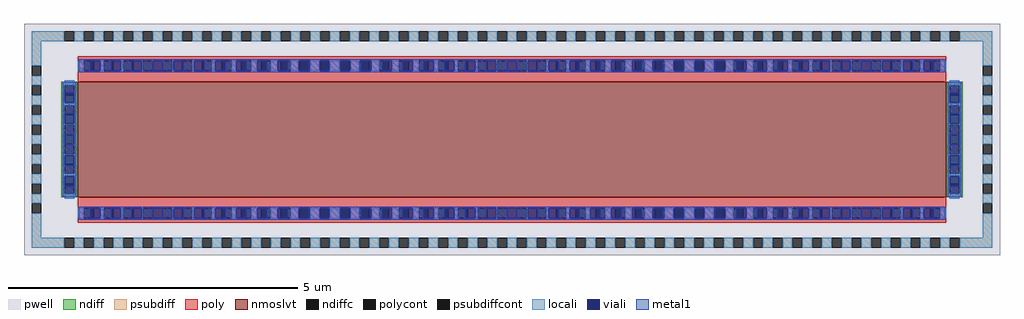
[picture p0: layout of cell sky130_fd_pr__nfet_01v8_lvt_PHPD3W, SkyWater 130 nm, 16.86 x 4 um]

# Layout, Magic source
magic
tech sky130A
magscale 1 2
<< pwell >>
rect -1686 -400 1686 400
<< nmoslvt >>
rect -1500 -200 1500 200
<< ndiff >>
rect -1558 187 -1500 200
rect -1558 153 -1546 187
rect -1512 153 -1500 187
rect -1558 119 -1500 153
rect -1558 85 -1546 119
rect -1512 85 -1500 119
rect -1558 51 -1500 85
rect -1558 17 -1546 51
rect -1512 17 -1500 51
rect -1558 -17 -1500 17
rect -1558 -51 -1546 -17
rect -1512 -51 -1500 -17
rect -1558 -85 -1500 -51
rect -1558 -119 -1546 -85
rect -1512 -119 -1500 -85
rect -1558 -153 -1500 -119
rect -1558 -187 -1546 -153
rect -1512 -187 -1500 -153
rect -1558 -200 -1500 -187
rect 1500 187 1558 200
rect 1500 153 1512 187
rect 1546 153 1558 187
rect 1500 119 1558 153
rect 1500 85 1512 119
rect 1546 85 1558 119
rect 1500 51 1558 85
rect 1500 17 1512 51
rect 1546 17 1558 51
rect 1500 -17 1558 17
rect 1500 -51 1512 -17
rect 1546 -51 1558 -17
rect 1500 -85 1558 -51
rect 1500 -119 1512 -85
rect 1546 -119 1558 -85
rect 1500 -153 1558 -119
rect 1500 -187 1512 -153
rect 1546 -187 1558 -153
rect 1500 -200 1558 -187
<< ndiffc >>
rect -1546 153 -1512 187
rect -1546 85 -1512 119
rect -1546 17 -1512 51
rect -1546 -51 -1512 -17
rect -1546 -119 -1512 -85
rect -1546 -187 -1512 -153
rect 1512 153 1546 187
rect 1512 85 1546 119
rect 1512 17 1546 51
rect 1512 -51 1546 -17
rect 1512 -119 1546 -85
rect 1512 -187 1546 -153
<< psubdiff >>
rect -1660 340 -1547 374
rect -1513 340 -1479 374
rect -1445 340 -1411 374
rect -1377 340 -1343 374
rect -1309 340 -1275 374
rect -1241 340 -1207 374
rect -1173 340 -1139 374
rect -1105 340 -1071 374
rect -1037 340 -1003 374
rect -969 340 -935 374
rect -901 340 -867 374
rect -833 340 -799 374
rect -765 340 -731 374
rect -697 340 -663 374
rect -629 340 -595 374
rect -561 340 -527 374
rect -493 340 -459 374
rect -425 340 -391 374
rect -357 340 -323 374
rect -289 340 -255 374
rect -221 340 -187 374
rect -153 340 -119 374
rect -85 340 -51 374
rect -17 340 17 374
rect 51 340 85 374
rect 119 340 153 374
rect 187 340 221 374
rect 255 340 289 374
rect 323 340 357 374
rect 391 340 425 374
rect 459 340 493 374
rect 527 340 561 374
rect 595 340 629 374
rect 663 340 697 374
rect 731 340 765 374
rect 799 340 833 374
rect 867 340 901 374
rect 935 340 969 374
rect 1003 340 1037 374
rect 1071 340 1105 374
rect 1139 340 1173 374
rect 1207 340 1241 374
rect 1275 340 1309 374
rect 1343 340 1377 374
rect 1411 340 1445 374
rect 1479 340 1513 374
rect 1547 340 1660 374
rect -1660 255 -1626 340
rect -1660 187 -1626 221
rect 1626 255 1660 340
rect -1660 119 -1626 153
rect -1660 51 -1626 85
rect -1660 -17 -1626 17
rect -1660 -85 -1626 -51
rect -1660 -153 -1626 -119
rect -1660 -221 -1626 -187
rect 1626 187 1660 221
rect 1626 119 1660 153
rect 1626 51 1660 85
rect 1626 -17 1660 17
rect 1626 -85 1660 -51
rect 1626 -153 1660 -119
rect -1660 -340 -1626 -255
rect 1626 -221 1660 -187
rect 1626 -340 1660 -255
rect -1660 -374 -1547 -340
rect -1513 -374 -1479 -340
rect -1445 -374 -1411 -340
rect -1377 -374 -1343 -340
rect -1309 -374 -1275 -340
rect -1241 -374 -1207 -340
rect -1173 -374 -1139 -340
rect -1105 -374 -1071 -340
rect -1037 -374 -1003 -340
rect -969 -374 -935 -340
rect -901 -374 -867 -340
rect -833 -374 -799 -340
rect -765 -374 -731 -340
rect -697 -374 -663 -340
rect -629 -374 -595 -340
rect -561 -374 -527 -340
rect -493 -374 -459 -340
rect -425 -374 -391 -340
rect -357 -374 -323 -340
rect -289 -374 -255 -340
rect -221 -374 -187 -340
rect -153 -374 -119 -340
rect -85 -374 -51 -340
rect -17 -374 17 -340
rect 51 -374 85 -340
rect 119 -374 153 -340
rect 187 -374 221 -340
rect 255 -374 289 -340
rect 323 -374 357 -340
rect 391 -374 425 -340
rect 459 -374 493 -340
rect 527 -374 561 -340
rect 595 -374 629 -340
rect 663 -374 697 -340
rect 731 -374 765 -340
rect 799 -374 833 -340
rect 867 -374 901 -340
rect 935 -374 969 -340
rect 1003 -374 1037 -340
rect 1071 -374 1105 -340
rect 1139 -374 1173 -340
rect 1207 -374 1241 -340
rect 1275 -374 1309 -340
rect 1343 -374 1377 -340
rect 1411 -374 1445 -340
rect 1479 -374 1513 -340
rect 1547 -374 1660 -340
<< psubdiffcont >>
rect -1547 340 -1513 374
rect -1479 340 -1445 374
rect -1411 340 -1377 374
rect -1343 340 -1309 374
rect -1275 340 -1241 374
rect -1207 340 -1173 374
rect -1139 340 -1105 374
rect -1071 340 -1037 374
rect -1003 340 -969 374
rect -935 340 -901 374
rect -867 340 -833 374
rect -799 340 -765 374
rect -731 340 -697 374
rect -663 340 -629 374
rect -595 340 -561 374
rect -527 340 -493 374
rect -459 340 -425 374
rect -391 340 -357 374
rect -323 340 -289 374
rect -255 340 -221 374
rect -187 340 -153 374
rect -119 340 -85 374
rect -51 340 -17 374
rect 17 340 51 374
rect 85 340 119 374
rect 153 340 187 374
rect 221 340 255 374
rect 289 340 323 374
rect 357 340 391 374
rect 425 340 459 374
rect 493 340 527 374
rect 561 340 595 374
rect 629 340 663 374
rect 697 340 731 374
rect 765 340 799 374
rect 833 340 867 374
rect 901 340 935 374
rect 969 340 1003 374
rect 1037 340 1071 374
rect 1105 340 1139 374
rect 1173 340 1207 374
rect 1241 340 1275 374
rect 1309 340 1343 374
rect 1377 340 1411 374
rect 1445 340 1479 374
rect 1513 340 1547 374
rect -1660 221 -1626 255
rect 1626 221 1660 255
rect -1660 153 -1626 187
rect -1660 85 -1626 119
rect -1660 17 -1626 51
rect -1660 -51 -1626 -17
rect -1660 -119 -1626 -85
rect -1660 -187 -1626 -153
rect 1626 153 1660 187
rect 1626 85 1660 119
rect 1626 17 1660 51
rect 1626 -51 1660 -17
rect 1626 -119 1660 -85
rect 1626 -187 1660 -153
rect -1660 -255 -1626 -221
rect 1626 -255 1660 -221
rect -1547 -374 -1513 -340
rect -1479 -374 -1445 -340
rect -1411 -374 -1377 -340
rect -1343 -374 -1309 -340
rect -1275 -374 -1241 -340
rect -1207 -374 -1173 -340
rect -1139 -374 -1105 -340
rect -1071 -374 -1037 -340
rect -1003 -374 -969 -340
rect -935 -374 -901 -340
rect -867 -374 -833 -340
rect -799 -374 -765 -340
rect -731 -374 -697 -340
rect -663 -374 -629 -340
rect -595 -374 -561 -340
rect -527 -374 -493 -340
rect -459 -374 -425 -340
rect -391 -374 -357 -340
rect -323 -374 -289 -340
rect -255 -374 -221 -340
rect -187 -374 -153 -340
rect -119 -374 -85 -340
rect -51 -374 -17 -340
rect 17 -374 51 -340
rect 85 -374 119 -340
rect 153 -374 187 -340
rect 221 -374 255 -340
rect 289 -374 323 -340
rect 357 -374 391 -340
rect 425 -374 459 -340
rect 493 -374 527 -340
rect 561 -374 595 -340
rect 629 -374 663 -340
rect 697 -374 731 -340
rect 765 -374 799 -340
rect 833 -374 867 -340
rect 901 -374 935 -340
rect 969 -374 1003 -340
rect 1037 -374 1071 -340
rect 1105 -374 1139 -340
rect 1173 -374 1207 -340
rect 1241 -374 1275 -340
rect 1309 -374 1343 -340
rect 1377 -374 1411 -340
rect 1445 -374 1479 -340
rect 1513 -374 1547 -340
<< poly >>
rect -1500 272 1500 288
rect -1500 238 -1479 272
rect -1445 238 -1411 272
rect -1377 238 -1343 272
rect -1309 238 -1275 272
rect -1241 238 -1207 272
rect -1173 238 -1139 272
rect -1105 238 -1071 272
rect -1037 238 -1003 272
rect -969 238 -935 272
rect -901 238 -867 272
rect -833 238 -799 272
rect -765 238 -731 272
rect -697 238 -663 272
rect -629 238 -595 272
rect -561 238 -527 272
rect -493 238 -459 272
rect -425 238 -391 272
rect -357 238 -323 272
rect -289 238 -255 272
rect -221 238 -187 272
rect -153 238 -119 272
rect -85 238 -51 272
rect -17 238 17 272
rect 51 238 85 272
rect 119 238 153 272
rect 187 238 221 272
rect 255 238 289 272
rect 323 238 357 272
rect 391 238 425 272
rect 459 238 493 272
rect 527 238 561 272
rect 595 238 629 272
rect 663 238 697 272
rect 731 238 765 272
rect 799 238 833 272
rect 867 238 901 272
rect 935 238 969 272
rect 1003 238 1037 272
rect 1071 238 1105 272
rect 1139 238 1173 272
rect 1207 238 1241 272
rect 1275 238 1309 272
rect 1343 238 1377 272
rect 1411 238 1445 272
rect 1479 238 1500 272
rect -1500 200 1500 238
rect -1500 -238 1500 -200
rect -1500 -272 -1479 -238
rect -1445 -272 -1411 -238
rect -1377 -272 -1343 -238
rect -1309 -272 -1275 -238
rect -1241 -272 -1207 -238
rect -1173 -272 -1139 -238
rect -1105 -272 -1071 -238
rect -1037 -272 -1003 -238
rect -969 -272 -935 -238
rect -901 -272 -867 -238
rect -833 -272 -799 -238
rect -765 -272 -731 -238
rect -697 -272 -663 -238
rect -629 -272 -595 -238
rect -561 -272 -527 -238
rect -493 -272 -459 -238
rect -425 -272 -391 -238
rect -357 -272 -323 -238
rect -289 -272 -255 -238
rect -221 -272 -187 -238
rect -153 -272 -119 -238
rect -85 -272 -51 -238
rect -17 -272 17 -238
rect 51 -272 85 -238
rect 119 -272 153 -238
rect 187 -272 221 -238
rect 255 -272 289 -238
rect 323 -272 357 -238
rect 391 -272 425 -238
rect 459 -272 493 -238
rect 527 -272 561 -238
rect 595 -272 629 -238
rect 663 -272 697 -238
rect 731 -272 765 -238
rect 799 -272 833 -238
rect 867 -272 901 -238
rect 935 -272 969 -238
rect 1003 -272 1037 -238
rect 1071 -272 1105 -238
rect 1139 -272 1173 -238
rect 1207 -272 1241 -238
rect 1275 -272 1309 -238
rect 1343 -272 1377 -238
rect 1411 -272 1445 -238
rect 1479 -272 1500 -238
rect -1500 -288 1500 -272
<< polycont >>
rect -1479 238 -1445 272
rect -1411 238 -1377 272
rect -1343 238 -1309 272
rect -1275 238 -1241 272
rect -1207 238 -1173 272
rect -1139 238 -1105 272
rect -1071 238 -1037 272
rect -1003 238 -969 272
rect -935 238 -901 272
rect -867 238 -833 272
rect -799 238 -765 272
rect -731 238 -697 272
rect -663 238 -629 272
rect -595 238 -561 272
rect -527 238 -493 272
rect -459 238 -425 272
rect -391 238 -357 272
rect -323 238 -289 272
rect -255 238 -221 272
rect -187 238 -153 272
rect -119 238 -85 272
rect -51 238 -17 272
rect 17 238 51 272
rect 85 238 119 272
rect 153 238 187 272
rect 221 238 255 272
rect 289 238 323 272
rect 357 238 391 272
rect 425 238 459 272
rect 493 238 527 272
rect 561 238 595 272
rect 629 238 663 272
rect 697 238 731 272
rect 765 238 799 272
rect 833 238 867 272
rect 901 238 935 272
rect 969 238 1003 272
rect 1037 238 1071 272
rect 1105 238 1139 272
rect 1173 238 1207 272
rect 1241 238 1275 272
rect 1309 238 1343 272
rect 1377 238 1411 272
rect 1445 238 1479 272
rect -1479 -272 -1445 -238
rect -1411 -272 -1377 -238
rect -1343 -272 -1309 -238
rect -1275 -272 -1241 -238
rect -1207 -272 -1173 -238
rect -1139 -272 -1105 -238
rect -1071 -272 -1037 -238
rect -1003 -272 -969 -238
rect -935 -272 -901 -238
rect -867 -272 -833 -238
rect -799 -272 -765 -238
rect -731 -272 -697 -238
rect -663 -272 -629 -238
rect -595 -272 -561 -238
rect -527 -272 -493 -238
rect -459 -272 -425 -238
rect -391 -272 -357 -238
rect -323 -272 -289 -238
rect -255 -272 -221 -238
rect -187 -272 -153 -238
rect -119 -272 -85 -238
rect -51 -272 -17 -238
rect 17 -272 51 -238
rect 85 -272 119 -238
rect 153 -272 187 -238
rect 221 -272 255 -238
rect 289 -272 323 -238
rect 357 -272 391 -238
rect 425 -272 459 -238
rect 493 -272 527 -238
rect 561 -272 595 -238
rect 629 -272 663 -238
rect 697 -272 731 -238
rect 765 -272 799 -238
rect 833 -272 867 -238
rect 901 -272 935 -238
rect 969 -272 1003 -238
rect 1037 -272 1071 -238
rect 1105 -272 1139 -238
rect 1173 -272 1207 -238
rect 1241 -272 1275 -238
rect 1309 -272 1343 -238
rect 1377 -272 1411 -238
rect 1445 -272 1479 -238
<< locali >>
rect -1660 340 -1547 374
rect -1513 340 -1479 374
rect -1445 340 -1411 374
rect -1377 340 -1343 374
rect -1309 340 -1275 374
rect -1241 340 -1207 374
rect -1173 340 -1139 374
rect -1105 340 -1071 374
rect -1037 340 -1003 374
rect -969 340 -935 374
rect -901 340 -867 374
rect -833 340 -799 374
rect -765 340 -731 374
rect -697 340 -663 374
rect -629 340 -595 374
rect -561 340 -527 374
rect -493 340 -459 374
rect -425 340 -391 374
rect -357 340 -323 374
rect -289 340 -255 374
rect -221 340 -187 374
rect -153 340 -119 374
rect -85 340 -51 374
rect -17 340 17 374
rect 51 340 85 374
rect 119 340 153 374
rect 187 340 221 374
rect 255 340 289 374
rect 323 340 357 374
rect 391 340 425 374
rect 459 340 493 374
rect 527 340 561 374
rect 595 340 629 374
rect 663 340 697 374
rect 731 340 765 374
rect 799 340 833 374
rect 867 340 901 374
rect 935 340 969 374
rect 1003 340 1037 374
rect 1071 340 1105 374
rect 1139 340 1173 374
rect 1207 340 1241 374
rect 1275 340 1309 374
rect 1343 340 1377 374
rect 1411 340 1445 374
rect 1479 340 1513 374
rect 1547 340 1660 374
rect -1660 255 -1626 340
rect -1500 238 -1479 272
rect -1423 238 -1411 272
rect -1351 238 -1343 272
rect -1279 238 -1275 272
rect -1173 238 -1169 272
rect -1105 238 -1097 272
rect -1037 238 -1025 272
rect -969 238 -953 272
rect -901 238 -881 272
rect -833 238 -809 272
rect -765 238 -737 272
rect -697 238 -665 272
rect -629 238 -595 272
rect -559 238 -527 272
rect -487 238 -459 272
rect -415 238 -391 272
rect -343 238 -323 272
rect -271 238 -255 272
rect -199 238 -187 272
rect -127 238 -119 272
rect -55 238 -51 272
rect 51 238 55 272
rect 119 238 127 272
rect 187 238 199 272
rect 255 238 271 272
rect 323 238 343 272
rect 391 238 415 272
rect 459 238 487 272
rect 527 238 559 272
rect 595 238 629 272
rect 665 238 697 272
rect 737 238 765 272
rect 809 238 833 272
rect 881 238 901 272
rect 953 238 969 272
rect 1025 238 1037 272
rect 1097 238 1105 272
rect 1169 238 1173 272
rect 1275 238 1279 272
rect 1343 238 1351 272
rect 1411 238 1423 272
rect 1479 238 1500 272
rect 1626 255 1660 340
rect -1660 187 -1626 221
rect -1660 119 -1626 153
rect -1660 51 -1626 85
rect -1660 -17 -1626 17
rect -1660 -85 -1626 -51
rect -1660 -153 -1626 -119
rect -1660 -221 -1626 -187
rect -1546 187 -1512 204
rect -1546 119 -1512 127
rect -1546 51 -1512 55
rect -1546 -55 -1512 -51
rect -1546 -127 -1512 -119
rect -1546 -204 -1512 -187
rect 1512 187 1546 204
rect 1512 119 1546 127
rect 1512 51 1546 55
rect 1512 -55 1546 -51
rect 1512 -127 1546 -119
rect 1512 -204 1546 -187
rect 1626 187 1660 221
rect 1626 119 1660 153
rect 1626 51 1660 85
rect 1626 -17 1660 17
rect 1626 -85 1660 -51
rect 1626 -153 1660 -119
rect 1626 -221 1660 -187
rect -1660 -340 -1626 -255
rect -1500 -272 -1479 -238
rect -1423 -272 -1411 -238
rect -1351 -272 -1343 -238
rect -1279 -272 -1275 -238
rect -1173 -272 -1169 -238
rect -1105 -272 -1097 -238
rect -1037 -272 -1025 -238
rect -969 -272 -953 -238
rect -901 -272 -881 -238
rect -833 -272 -809 -238
rect -765 -272 -737 -238
rect -697 -272 -665 -238
rect -629 -272 -595 -238
rect -559 -272 -527 -238
rect -487 -272 -459 -238
rect -415 -272 -391 -238
rect -343 -272 -323 -238
rect -271 -272 -255 -238
rect -199 -272 -187 -238
rect -127 -272 -119 -238
rect -55 -272 -51 -238
rect 51 -272 55 -238
rect 119 -272 127 -238
rect 187 -272 199 -238
rect 255 -272 271 -238
rect 323 -272 343 -238
rect 391 -272 415 -238
rect 459 -272 487 -238
rect 527 -272 559 -238
rect 595 -272 629 -238
rect 665 -272 697 -238
rect 737 -272 765 -238
rect 809 -272 833 -238
rect 881 -272 901 -238
rect 953 -272 969 -238
rect 1025 -272 1037 -238
rect 1097 -272 1105 -238
rect 1169 -272 1173 -238
rect 1275 -272 1279 -238
rect 1343 -272 1351 -238
rect 1411 -272 1423 -238
rect 1479 -272 1500 -238
rect 1626 -340 1660 -255
rect -1660 -374 -1547 -340
rect -1513 -374 -1479 -340
rect -1445 -374 -1411 -340
rect -1377 -374 -1343 -340
rect -1309 -374 -1275 -340
rect -1241 -374 -1207 -340
rect -1173 -374 -1139 -340
rect -1105 -374 -1071 -340
rect -1037 -374 -1003 -340
rect -969 -374 -935 -340
rect -901 -374 -867 -340
rect -833 -374 -799 -340
rect -765 -374 -731 -340
rect -697 -374 -663 -340
rect -629 -374 -595 -340
rect -561 -374 -527 -340
rect -493 -374 -459 -340
rect -425 -374 -391 -340
rect -357 -374 -323 -340
rect -289 -374 -255 -340
rect -221 -374 -187 -340
rect -153 -374 -119 -340
rect -85 -374 -51 -340
rect -17 -374 17 -340
rect 51 -374 85 -340
rect 119 -374 153 -340
rect 187 -374 221 -340
rect 255 -374 289 -340
rect 323 -374 357 -340
rect 391 -374 425 -340
rect 459 -374 493 -340
rect 527 -374 561 -340
rect 595 -374 629 -340
rect 663 -374 697 -340
rect 731 -374 765 -340
rect 799 -374 833 -340
rect 867 -374 901 -340
rect 935 -374 969 -340
rect 1003 -374 1037 -340
rect 1071 -374 1105 -340
rect 1139 -374 1173 -340
rect 1207 -374 1241 -340
rect 1275 -374 1309 -340
rect 1343 -374 1377 -340
rect 1411 -374 1445 -340
rect 1479 -374 1513 -340
rect 1547 -374 1660 -340
<< viali >>
rect -1457 238 -1445 272
rect -1445 238 -1423 272
rect -1385 238 -1377 272
rect -1377 238 -1351 272
rect -1313 238 -1309 272
rect -1309 238 -1279 272
rect -1241 238 -1207 272
rect -1169 238 -1139 272
rect -1139 238 -1135 272
rect -1097 238 -1071 272
rect -1071 238 -1063 272
rect -1025 238 -1003 272
rect -1003 238 -991 272
rect -953 238 -935 272
rect -935 238 -919 272
rect -881 238 -867 272
rect -867 238 -847 272
rect -809 238 -799 272
rect -799 238 -775 272
rect -737 238 -731 272
rect -731 238 -703 272
rect -665 238 -663 272
rect -663 238 -631 272
rect -593 238 -561 272
rect -561 238 -559 272
rect -521 238 -493 272
rect -493 238 -487 272
rect -449 238 -425 272
rect -425 238 -415 272
rect -377 238 -357 272
rect -357 238 -343 272
rect -305 238 -289 272
rect -289 238 -271 272
rect -233 238 -221 272
rect -221 238 -199 272
rect -161 238 -153 272
rect -153 238 -127 272
rect -89 238 -85 272
rect -85 238 -55 272
rect -17 238 17 272
rect 55 238 85 272
rect 85 238 89 272
rect 127 238 153 272
rect 153 238 161 272
rect 199 238 221 272
rect 221 238 233 272
rect 271 238 289 272
rect 289 238 305 272
rect 343 238 357 272
rect 357 238 377 272
rect 415 238 425 272
rect 425 238 449 272
rect 487 238 493 272
rect 493 238 521 272
rect 559 238 561 272
rect 561 238 593 272
rect 631 238 663 272
rect 663 238 665 272
rect 703 238 731 272
rect 731 238 737 272
rect 775 238 799 272
rect 799 238 809 272
rect 847 238 867 272
rect 867 238 881 272
rect 919 238 935 272
rect 935 238 953 272
rect 991 238 1003 272
rect 1003 238 1025 272
rect 1063 238 1071 272
rect 1071 238 1097 272
rect 1135 238 1139 272
rect 1139 238 1169 272
rect 1207 238 1241 272
rect 1279 238 1309 272
rect 1309 238 1313 272
rect 1351 238 1377 272
rect 1377 238 1385 272
rect 1423 238 1445 272
rect 1445 238 1457 272
rect -1546 153 -1512 161
rect -1546 127 -1512 153
rect -1546 85 -1512 89
rect -1546 55 -1512 85
rect -1546 -17 -1512 17
rect -1546 -85 -1512 -55
rect -1546 -89 -1512 -85
rect -1546 -153 -1512 -127
rect -1546 -161 -1512 -153
rect 1512 153 1546 161
rect 1512 127 1546 153
rect 1512 85 1546 89
rect 1512 55 1546 85
rect 1512 -17 1546 17
rect 1512 -85 1546 -55
rect 1512 -89 1546 -85
rect 1512 -153 1546 -127
rect 1512 -161 1546 -153
rect -1457 -272 -1445 -238
rect -1445 -272 -1423 -238
rect -1385 -272 -1377 -238
rect -1377 -272 -1351 -238
rect -1313 -272 -1309 -238
rect -1309 -272 -1279 -238
rect -1241 -272 -1207 -238
rect -1169 -272 -1139 -238
rect -1139 -272 -1135 -238
rect -1097 -272 -1071 -238
rect -1071 -272 -1063 -238
rect -1025 -272 -1003 -238
rect -1003 -272 -991 -238
rect -953 -272 -935 -238
rect -935 -272 -919 -238
rect -881 -272 -867 -238
rect -867 -272 -847 -238
rect -809 -272 -799 -238
rect -799 -272 -775 -238
rect -737 -272 -731 -238
rect -731 -272 -703 -238
rect -665 -272 -663 -238
rect -663 -272 -631 -238
rect -593 -272 -561 -238
rect -561 -272 -559 -238
rect -521 -272 -493 -238
rect -493 -272 -487 -238
rect -449 -272 -425 -238
rect -425 -272 -415 -238
rect -377 -272 -357 -238
rect -357 -272 -343 -238
rect -305 -272 -289 -238
rect -289 -272 -271 -238
rect -233 -272 -221 -238
rect -221 -272 -199 -238
rect -161 -272 -153 -238
rect -153 -272 -127 -238
rect -89 -272 -85 -238
rect -85 -272 -55 -238
rect -17 -272 17 -238
rect 55 -272 85 -238
rect 85 -272 89 -238
rect 127 -272 153 -238
rect 153 -272 161 -238
rect 199 -272 221 -238
rect 221 -272 233 -238
rect 271 -272 289 -238
rect 289 -272 305 -238
rect 343 -272 357 -238
rect 357 -272 377 -238
rect 415 -272 425 -238
rect 425 -272 449 -238
rect 487 -272 493 -238
rect 493 -272 521 -238
rect 559 -272 561 -238
rect 561 -272 593 -238
rect 631 -272 663 -238
rect 663 -272 665 -238
rect 703 -272 731 -238
rect 731 -272 737 -238
rect 775 -272 799 -238
rect 799 -272 809 -238
rect 847 -272 867 -238
rect 867 -272 881 -238
rect 919 -272 935 -238
rect 935 -272 953 -238
rect 991 -272 1003 -238
rect 1003 -272 1025 -238
rect 1063 -272 1071 -238
rect 1071 -272 1097 -238
rect 1135 -272 1139 -238
rect 1139 -272 1169 -238
rect 1207 -272 1241 -238
rect 1279 -272 1309 -238
rect 1309 -272 1313 -238
rect 1351 -272 1377 -238
rect 1377 -272 1385 -238
rect 1423 -272 1445 -238
rect 1445 -272 1457 -238
<< metal1 >>
rect -1496 272 1496 278
rect -1496 238 -1457 272
rect -1423 238 -1385 272
rect -1351 238 -1313 272
rect -1279 238 -1241 272
rect -1207 238 -1169 272
rect -1135 238 -1097 272
rect -1063 238 -1025 272
rect -991 238 -953 272
rect -919 238 -881 272
rect -847 238 -809 272
rect -775 238 -737 272
rect -703 238 -665 272
rect -631 238 -593 272
rect -559 238 -521 272
rect -487 238 -449 272
rect -415 238 -377 272
rect -343 238 -305 272
rect -271 238 -233 272
rect -199 238 -161 272
rect -127 238 -89 272
rect -55 238 -17 272
rect 17 238 55 272
rect 89 238 127 272
rect 161 238 199 272
rect 233 238 271 272
rect 305 238 343 272
rect 377 238 415 272
rect 449 238 487 272
rect 521 238 559 272
rect 593 238 631 272
rect 665 238 703 272
rect 737 238 775 272
rect 809 238 847 272
rect 881 238 919 272
rect 953 238 991 272
rect 1025 238 1063 272
rect 1097 238 1135 272
rect 1169 238 1207 272
rect 1241 238 1279 272
rect 1313 238 1351 272
rect 1385 238 1423 272
rect 1457 238 1496 272
rect -1496 232 1496 238
rect -1552 161 -1506 200
rect -1552 127 -1546 161
rect -1512 127 -1506 161
rect -1552 89 -1506 127
rect -1552 55 -1546 89
rect -1512 55 -1506 89
rect -1552 17 -1506 55
rect -1552 -17 -1546 17
rect -1512 -17 -1506 17
rect -1552 -55 -1506 -17
rect -1552 -89 -1546 -55
rect -1512 -89 -1506 -55
rect -1552 -127 -1506 -89
rect -1552 -161 -1546 -127
rect -1512 -161 -1506 -127
rect -1552 -200 -1506 -161
rect 1506 161 1552 200
rect 1506 127 1512 161
rect 1546 127 1552 161
rect 1506 89 1552 127
rect 1506 55 1512 89
rect 1546 55 1552 89
rect 1506 17 1552 55
rect 1506 -17 1512 17
rect 1546 -17 1552 17
rect 1506 -55 1552 -17
rect 1506 -89 1512 -55
rect 1546 -89 1552 -55
rect 1506 -127 1552 -89
rect 1506 -161 1512 -127
rect 1546 -161 1552 -127
rect 1506 -200 1552 -161
rect -1496 -238 1496 -232
rect -1496 -272 -1457 -238
rect -1423 -272 -1385 -238
rect -1351 -272 -1313 -238
rect -1279 -272 -1241 -238
rect -1207 -272 -1169 -238
rect -1135 -272 -1097 -238
rect -1063 -272 -1025 -238
rect -991 -272 -953 -238
rect -919 -272 -881 -238
rect -847 -272 -809 -238
rect -775 -272 -737 -238
rect -703 -272 -665 -238
rect -631 -272 -593 -238
rect -559 -272 -521 -238
rect -487 -272 -449 -238
rect -415 -272 -377 -238
rect -343 -272 -305 -238
rect -271 -272 -233 -238
rect -199 -272 -161 -238
rect -127 -272 -89 -238
rect -55 -272 -17 -238
rect 17 -272 55 -238
rect 89 -272 127 -238
rect 161 -272 199 -238
rect 233 -272 271 -238
rect 305 -272 343 -238
rect 377 -272 415 -238
rect 449 -272 487 -238
rect 521 -272 559 -238
rect 593 -272 631 -238
rect 665 -272 703 -238
rect 737 -272 775 -238
rect 809 -272 847 -238
rect 881 -272 919 -238
rect 953 -272 991 -238
rect 1025 -272 1063 -238
rect 1097 -272 1135 -238
rect 1169 -272 1207 -238
rect 1241 -272 1279 -238
rect 1313 -272 1351 -238
rect 1385 -272 1423 -238
rect 1457 -272 1496 -238
rect -1496 -278 1496 -272
<< properties >>
string FIXED_BBOX -1642 -356 1642 356
<< end >>
